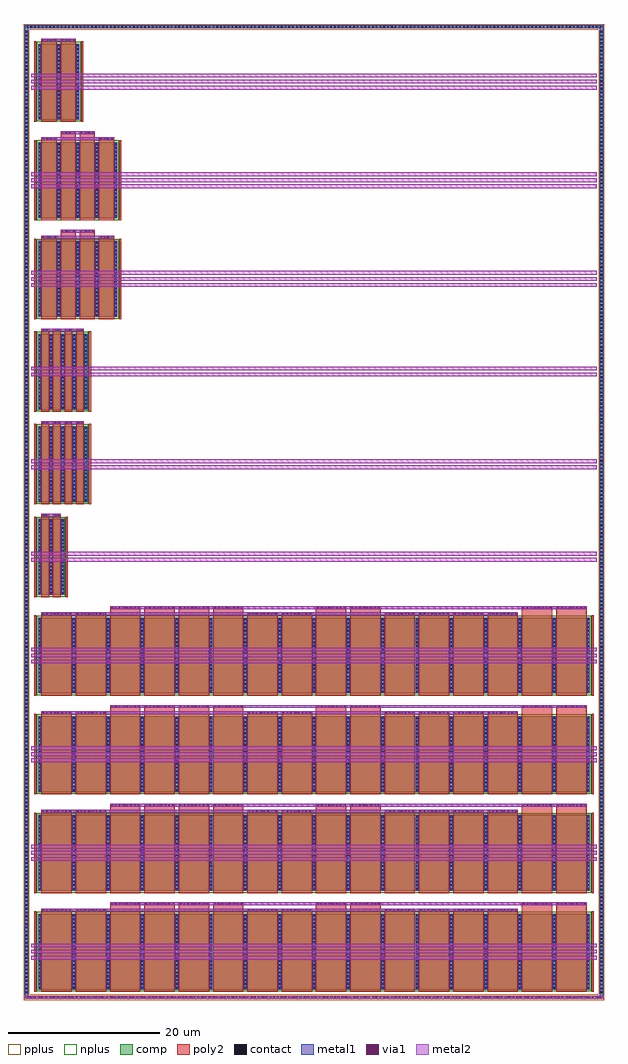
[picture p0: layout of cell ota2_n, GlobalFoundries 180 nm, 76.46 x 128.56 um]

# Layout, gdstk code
import gdstk
lib = gdstk.Library(unit=1e-6, precision=1e-09)
def R(c, l, rs):  # rectangles x0, y0, x1, y1
    for r in rs: c.add(gdstk.rectangle(r[:2], r[2:], *l))
def A(c, l, x, y, w, h, nx, ny, dx, dy):  # array of equal rectangles
    R(c, l, [(x+i*dx, y+j*dy, x+i*dx+w, y+j*dy+h) for i in range(nx) for j in range(ny)])
comp = (22, 0)
poly2 = (30, 0)
pplus = (31, 0)
nplus = (32, 0)
contact = (33, 0)
metal1 = (34, 0)
via1 = (35, 0)
metal2 = (36, 0)

ota2_n = lib.new_cell('ota2_n')
A(ota2_n, comp, 1.72, 1.22, 72.7, 10, 1, 4, 0, 13)
R(ota2_n, comp, [(0,0,76.14,0.42), (0,0,0.42,128.24), (75.72,0,76.14,128.24), (1.72,53.22,5.14,63.22), (1.72,65.42,8.18,75.42), (1.72,77.62,8.18,87.62), (1.72,89.82,12.18,99.82), (1.72,102.82,12.18,112.82), (1.72,115.82,7.14,125.82), (0,127.82,76.14,128.24)])
A(ota2_n, poly2, 1.2, 0.92, 0.28, 10.6, 1, 5, 0, 13)
A(ota2_n, poly2, 2.17, 0.92, 4, 10.96, 1, 4, 0, 13)
A(ota2_n, poly2, 6.69, 0.92, 4, 10.96, 1, 4, 0, 13)
A(ota2_n, poly2, 11.21, 0.92, 4, 11.76, 4, 4, 4.52, 13)
A(ota2_n, poly2, 29.29, 0.92, 4, 10.96, 1, 4, 0, 13)
A(ota2_n, poly2, 33.81, 0.92, 4, 10.96, 1, 4, 0, 13)
A(ota2_n, poly2, 38.33, 0.92, 4, 11.76, 1, 4, 0, 13)
A(ota2_n, poly2, 42.85, 0.92, 4, 11.76, 1, 4, 0, 13)
A(ota2_n, poly2, 47.37, 0.92, 4, 10.96, 4, 4, 4.52, 13)
A(ota2_n, poly2, 65.45, 0.92, 4, 11.76, 1, 4, 0, 13)
A(ota2_n, poly2, 69.97, 0.92, 4, 11.76, 1, 4, 0, 13)
A(ota2_n, poly2, 74.66, 0.92, 0.28, 10.6, 1, 4, 0, 13)
A(ota2_n, poly2, 1.2, 65.12, 0.28, 10.6, 1, 3, 0, 12.2)
A(ota2_n, poly2, 2.17, 65.12, 1, 10.96, 4, 2, 1.52, 12.2)
A(ota2_n, poly2, 2.17, 89.52, 2, 10.96, 1, 3, 0, 13)
R(ota2_n, poly2, [(2.17,52.92,3.17,63.88), (3.69,52.92,4.69,63.88), (5.38,52.92,5.66,63.52), (8.42,65.12,8.7,75.72), (8.42,77.32,8.7,87.92), (4.69,89.52,6.69,101.28), (7.21,89.52,9.21,101.28), (9.73,89.52,11.73,100.48), (12.42,89.52,12.7,100.12), (1.2,102.52,1.48,113.12), (4.69,102.52,6.69,114.28), (7.21,102.52,9.21,114.28), (9.73,102.52,11.73,113.48), (12.42,102.52,12.7,113.12), (1.2,115.52,1.48,126.12), (4.69,115.52,6.69,126.48), (7.38,115.52,7.66,126.12)])
R(ota2_n, pplus, [(-0.16,-0.16,76.3,0.58), (-0.16,-0.16,0.58,128.4), (75.56,-0.16,76.3,128.4), (-0.16,127.66,76.3,128.4)])
A(ota2_n, nplus, 1.54, 0.98, 73.06, 10.48, 1, 4, 0, 13)
R(ota2_n, nplus, [(1.54,52.98,5.32,63.46), (1.54,65.18,8.36,75.66), (1.54,77.38,8.36,87.86), (1.54,89.58,12.36,100.06), (1.54,102.58,12.36,113.06), (1.54,115.58,7.32,126.06)])
A(ota2_n, contact, 0.21, 0.1, 0.22, 0.22, 152, 2, 0.5, 127.82)
A(ota2_n, contact, 0.1, 0.76, 0.22, 0.22, 1, 254, 0, 0.5)
A(ota2_n, contact, 75.82, 0.76, 0.22, 0.22, 1, 254, 0, 0.5)
A(ota2_n, contact, 1.8, 1.36, 0.22, 0.22, 17, 20, 4.52, 0.5)
A(ota2_n, contact, 2.31, 11.59, 0.22, 0.22, 8, 4, 0.5, 13)
A(ota2_n, contact, 6.83, 11.59, 0.22, 0.22, 8, 4, 0.5, 13)
A(ota2_n, contact, 29.43, 11.59, 0.22, 0.22, 8, 4, 0.5, 13)
A(ota2_n, contact, 33.95, 11.59, 0.22, 0.22, 8, 4, 0.5, 13)
A(ota2_n, contact, 47.51, 11.59, 0.22, 0.22, 8, 4, 0.5, 13)
A(ota2_n, contact, 52.03, 11.59, 0.22, 0.22, 8, 4, 0.5, 13)
A(ota2_n, contact, 56.55, 11.59, 0.22, 0.22, 8, 4, 0.5, 13)
A(ota2_n, contact, 61.07, 11.59, 0.22, 0.22, 8, 4, 0.5, 13)
A(ota2_n, contact, 11.35, 12.39, 0.22, 0.22, 8, 4, 0.5, 13)
A(ota2_n, contact, 15.87, 12.39, 0.22, 0.22, 8, 4, 0.5, 13)
A(ota2_n, contact, 20.39, 12.39, 0.22, 0.22, 8, 4, 0.5, 13)
A(ota2_n, contact, 24.91, 12.39, 0.22, 0.22, 8, 4, 0.5, 13)
A(ota2_n, contact, 38.47, 12.39, 0.22, 0.22, 8, 4, 0.5, 13)
A(ota2_n, contact, 42.99, 12.39, 0.22, 0.22, 8, 4, 0.5, 13)
A(ota2_n, contact, 65.59, 12.39, 0.22, 0.22, 8, 4, 0.5, 13)
A(ota2_n, contact, 70.11, 12.39, 0.22, 0.22, 8, 4, 0.5, 13)
A(ota2_n, contact, 1.8, 14.36, 0.22, 0.22, 17, 20, 4.52, 0.5)
A(ota2_n, contact, 1.8, 27.36, 0.22, 0.22, 17, 20, 4.52, 0.5)
A(ota2_n, contact, 1.8, 40.36, 0.22, 0.22, 17, 20, 4.52, 0.5)
A(ota2_n, contact, 1.8, 53.36, 0.22, 0.22, 3, 20, 1.52, 0.5)
A(ota2_n, contact, 2.31, 63.59, 0.22, 0.22, 1, 3, 0, 12.2)
A(ota2_n, contact, 2.81, 63.59, 0.22, 0.22, 1, 3, 0, 12.2)
A(ota2_n, contact, 3.83, 63.59, 0.22, 0.22, 1, 3, 0, 12.2)
A(ota2_n, contact, 4.33, 63.59, 0.22, 0.22, 1, 3, 0, 12.2)
A(ota2_n, contact, 1.8, 65.56, 0.22, 0.22, 5, 20, 1.52, 0.5)
A(ota2_n, contact, 1.8, 77.76, 0.22, 0.22, 5, 20, 1.52, 0.5)
A(ota2_n, contact, 1.8, 89.96, 0.22, 0.22, 5, 20, 2.52, 0.5)
A(ota2_n, contact, 2.31, 100.19, 0.22, 0.22, 4, 3, 0.5, 13)
A(ota2_n, contact, 9.87, 100.19, 0.22, 0.22, 4, 2, 0.5, 13)
A(ota2_n, contact, 4.83, 100.99, 0.22, 0.22, 4, 2, 0.5, 13)
A(ota2_n, contact, 7.35, 100.99, 0.22, 0.22, 4, 2, 0.5, 13)
A(ota2_n, contact, 1.8, 102.96, 0.22, 0.22, 5, 20, 2.52, 0.5)
A(ota2_n, contact, 1.8, 115.96, 0.22, 0.22, 3, 20, 2.52, 0.5)
A(ota2_n, contact, 4.83, 126.19, 0.22, 0.22, 4, 1, 0.5, 0)
R(ota2_n, contact, [(5.35,75.79,5.57,76.01), (5.85,75.79,6.07,76.01), (6.87,75.79,7.09,76.01), (7.37,75.79,7.59,76.01), (5.35,87.99,5.57,88.21), (5.85,87.99,6.07,88.21), (6.87,87.99,7.09,88.21), (7.37,87.99,7.59,88.21)])
A(ota2_n, metal1, 1.72, 1.28, 0.38, 9.88, 17, 4, 4.52, 13)
A(ota2_n, metal1, 2.23, 11.51, 62.64, 0.38, 1, 4, 0, 13)
A(ota2_n, metal1, 11.27, 12.31, 62.64, 0.38, 1, 4, 0, 13)
A(ota2_n, metal1, 1.72, 53.28, 0.38, 9.88, 3, 1, 1.52, 0)
A(ota2_n, metal1, 1.72, 65.48, 0.38, 9.88, 5, 2, 1.52, 12.2)
A(ota2_n, metal1, 1.72, 89.88, 0.38, 9.88, 5, 2, 2.52, 13)
A(ota2_n, metal1, 1.72, 115.88, 0.38, 9.88, 3, 1, 2.52, 0)
R(ota2_n, metal1, [(0,0,76.14,0.42), (0,0,0.42,128.24), (75.72,0,76.14,128.24), (2.23,63.51,4.63,63.89), (2.23,75.71,7.67,76.09), (2.23,87.91,7.67,88.29), (2.23,100.11,11.67,100.49), (4.75,100.91,9.15,101.29), (2.23,113.11,11.67,113.49), (4.75,113.91,9.15,114.29), (2.23,126.11,6.63,126.49), (0,127.82,76.14,128.24)])
A(ota2_n, via1, 0.27, 0.08, 0.26, 0.26, 95, 1, 0.8, 0)
A(ota2_n, via1, 1.78, 5.29, 0.26, 0.26, 9, 4, 9.04, 13)
A(ota2_n, via1, 4.04, 11.57, 0.26, 0.26, 1, 4, 0, 13)
A(ota2_n, via1, 8.56, 11.57, 0.26, 0.26, 1, 4, 0, 13)
A(ota2_n, via1, 31.16, 11.57, 0.26, 0.26, 1, 4, 0, 13)
A(ota2_n, via1, 35.68, 11.57, 0.26, 0.26, 1, 4, 0, 13)
A(ota2_n, via1, 49.24, 11.57, 0.26, 0.26, 4, 4, 4.52, 13)
A(ota2_n, via1, 13.08, 12.37, 0.26, 0.26, 4, 4, 4.52, 13)
A(ota2_n, via1, 40.2, 12.37, 0.26, 0.26, 1, 4, 0, 13)
A(ota2_n, via1, 44.72, 12.37, 0.26, 0.26, 1, 4, 0, 13)
A(ota2_n, via1, 67.32, 12.37, 0.26, 0.26, 1, 4, 0, 13)
A(ota2_n, via1, 71.84, 12.37, 0.26, 0.26, 1, 4, 0, 13)
A(ota2_n, via1, 3.3, 58.49, 0.26, 0.26, 1, 3, 0, 12.2)
A(ota2_n, via1, 1.78, 69.89, 0.26, 0.26, 3, 2, 3.04, 12.2)
A(ota2_n, via1, 2.54, 75.77, 0.26, 0.26, 4, 2, 1.52, 12.2)
A(ota2_n, via1, 4.3, 93.89, 0.26, 0.26, 1, 3, 0, 13)
A(ota2_n, via1, 1.78, 94.69, 0.26, 0.26, 1, 3, 0, 13)
A(ota2_n, via1, 6.82, 95.49, 0.26, 0.26, 1, 3, 0, 13)
A(ota2_n, via1, 3.04, 100.17, 0.26, 0.26, 1, 3, 0, 13)
R(ota2_n, via1, [(6.3,6.09,6.56,6.35), (33.42,6.09,33.68,6.35), (51.5,6.09,51.76,6.35), (60.54,6.09,60.8,6.35), (15.34,6.89,15.6,7.15), (24.38,6.89,24.64,7.15), (42.46,6.89,42.72,7.15), (69.58,6.89,69.84,7.15), (15.34,19.09,15.6,19.35), (24.38,19.09,24.64,19.35), (42.46,19.09,42.72,19.35), (69.58,19.09,69.84,19.35), (6.3,19.89,6.56,20.15), (33.42,19.89,33.68,20.15), (51.5,19.89,51.76,20.15), (60.54,19.89,60.8,20.15), (6.3,32.09,6.56,32.35), (33.42,32.09,33.68,32.35), (51.5,32.09,51.76,32.35), (60.54,32.09,60.8,32.35), (15.34,32.89,15.6,33.15), (24.38,32.89,24.64,33.15), (42.46,32.89,42.72,33.15), (69.58,32.89,69.84,33.15), (15.34,45.09,15.6,45.35), (24.38,45.09,24.64,45.35), (42.46,45.09,42.72,45.35), (69.58,45.09,69.84,45.35), (6.3,45.89,6.56,46.15), (33.42,45.89,33.68,46.15), (51.5,45.89,51.76,46.15), (60.54,45.89,60.8,46.15), (1.78,57.69,2.04,57.95), (4.82,57.69,5.08,57.95), (2.54,63.57,2.8,63.83), (4.06,63.57,4.32,63.83), (6.34,70.69,6.6,70.95), (6.34,82.89,6.6,83.15), (9.34,93.89,9.6,94.15), (11.86,94.69,12.12,94.95), (10.6,100.17,10.86,100.43), (5.56,100.97,5.82,101.23), (8.08,100.97,8.34,101.23), (9.34,106.89,9.6,107.15), (11.86,107.69,12.12,107.95), (10.6,113.17,10.86,113.43), (5.56,113.97,5.82,114.23), (8.08,113.97,8.34,114.23), (5.56,126.17,5.82,126.43)])
A(ota2_n, metal2, 0.82, 5.17, 74.5, 0.5, 1, 3, 0, 0.8)
A(ota2_n, metal2, 2.23, 11.51, 62.64, 0.38, 1, 4, 0, 13)
A(ota2_n, metal2, 11.27, 12.31, 62.64, 0.38, 1, 4, 0, 13)
A(ota2_n, metal2, 0.82, 18.17, 74.5, 0.5, 1, 3, 0, 0.8)
A(ota2_n, metal2, 0.82, 31.17, 74.5, 0.5, 1, 3, 0, 0.8)
A(ota2_n, metal2, 0.82, 44.17, 74.5, 0.5, 1, 3, 0, 0.8)
A(ota2_n, metal2, 0.82, 93.77, 74.5, 0.5, 1, 3, 0, 0.8)
A(ota2_n, metal2, 0.82, 106.77, 74.5, 0.5, 1, 3, 0, 0.8)
A(ota2_n, metal2, 0.82, 119.77, 74.5, 0.5, 1, 3, 0, 0.8)
R(ota2_n, metal2, [(0,0,76.14,0.42), (0.82,57.57,75.32,58.07), (0.82,58.37,75.32,58.87), (2.23,63.51,4.63,63.89), (0.82,69.77,75.32,70.27), (0.82,70.57,75.32,71.07), (2.23,75.71,7.67,76.09), (0.82,81.97,75.32,82.47), (0.82,82.77,75.32,83.27), (2.23,87.91,7.67,88.29), (2.23,100.11,11.67,100.49), (4.75,100.91,9.15,101.29), (2.23,113.11,11.67,113.49), (4.75,113.91,9.15,114.29), (2.23,126.11,6.63,126.49)])

lib.write_gds('ota2_n.gds')
